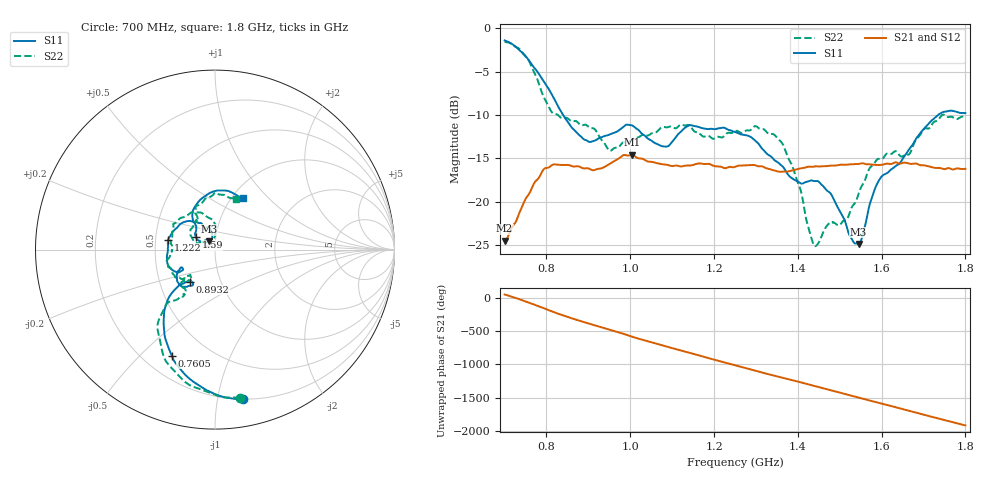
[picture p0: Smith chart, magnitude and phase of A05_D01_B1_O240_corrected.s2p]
! Created with skrf 1.9.0 (http://scikit-rf.org).
# Hz S RI R 50.0
!freq ReS11 ImS11 ReS21 ImS21 ReS12 ImS12 ReS22 ImS22
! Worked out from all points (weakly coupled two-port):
!   1601 points, 700 MHz to 1.8 GHz, reference 50 ohm
!   highest |S21| = -14.59 dB at 1.005 GHz (marker M1); lowest = -24.5 dB at 700 MHz (marker M2)
!   lowest |S11| = -24.9 dB at 1.545 GHz (marker M3), VSWR 1.12, Z = 46.6 + j4.33 ohm
!   |S11| at or under -10 dB: 839.3 MHz to 1.735 GHz (895.2 MHz wide, 69.6 % of centre)
!   |S22| runs from -25.1 to -1.5 dB; largest |S21 - S12| = 0.0038
!   S11 on the Smith chart (normalised r, x): 700 MHz: 0.20, -1.19; 760.5 MHz: 0.31, -0.62; 893.2 MHz: 0.71, -0.27; 1.222 GHz: 0.58, +0.07; 1.59 GHz: 0.80, +0.11; 1.8 GHz: 1.12, +0.71
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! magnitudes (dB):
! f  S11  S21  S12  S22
! 700 MHz  -1.4  -24.5  -24.3  -1.5
! 760.5 MHz  -3.9  -18.9  -18.8  -4.0
! 812.8 MHz  -7.6  -15.8  -15.8  -9.7
! 883.6 MHz  -12.5  -16.1  -16.0  -11.2
! 893.2 MHz  -12.9  -16.1  -16.2  -11.1
! 950.9 MHz  -12.2  -15.6  -15.6  -14.1
! 1.005 GHz  -11.2  -14.6  -14.7  -12.8
! 1.067 GHz  -13.4  -15.6  -15.5  -11.8
! 1.141 GHz  -11.2  -15.8  -15.8  -11.2
! 1.222 GHz  -11.5  -16.1  -16.1  -12.5
! 1.25 GHz  -12.0  -16.0  -15.9  -11.9
! 1.361 GHz  -15.8  -16.5  -16.6  -13.1
! 1.405 GHz  -17.8  -16.2  -16.2  -18.4
! 1.434 GHz  -17.6  -16.0  -16.0  -24.4
! 1.478 GHz  -19.1  -15.8  -15.9  -22.4
! 1.516 GHz  -22.8  -15.7  -15.7  -22.0
! 1.545 GHz  -24.9  -15.7  -15.6  -19.1
! 1.59 GHz  -17.8  -15.8  -15.8  -15.1
! 1.617 GHz  -16.5  -15.6  -15.6  -14.5
! 1.664 GHz  -14.1  -15.6  -15.6  -14.6
! 1.735 GHz  -10.0  -16.1  -16.2  -10.6
! 1.8 GHz  -9.8  -16.2  -16.2  -10.3
